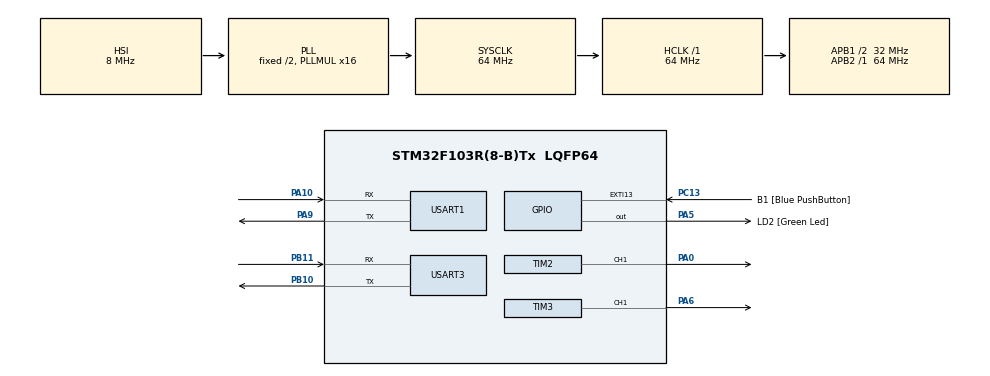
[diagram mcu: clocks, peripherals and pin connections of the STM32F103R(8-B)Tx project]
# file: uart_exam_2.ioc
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Mcu.Family=STM32F1
Mcu.Name=STM32F103R(8-B)Tx
Mcu.Package=LQFP64
NVIC.EXTI15_10_IRQn=true\:0\:0\:false\:false\:true\:true\:true\:true
NVIC.PriorityGroup=NVIC_PRIORITYGROUP_4
NVIC.TIM3_IRQn=true\:0\:0\:false\:false\:true\:true\:true\:true
NVIC.USART1_IRQn=true\:0\:0\:false\:false\:true\:true\:true\:true
NVIC.USART3_IRQn=true\:0\:0\:false\:false\:true\:true\:true\:true
PA0-WKUP.Signal=S_TIM2_CH1_ETR
PA10.Mode=Asynchronous
PA10.Signal=USART1_RX
PA13.GPIO_Label=TMS
PA13.Mode=Serial_Wire
PA13.Signal=SYS_JTMS-SWDIO
PA14.GPIO_Label=TCK
PA14.Mode=Serial_Wire
PA14.Signal=SYS_JTCK-SWCLK
PA2.GPIO_Label=USART_TX
PA2.GPIO_Mode=GPIO_MODE_AF_PP
PA2.GPIO_PuPd=GPIO_NOPULL
PA2.GPIO_Speed=GPIO_SPEED_FREQ_LOW
PA2.Signal=USART2_TX
PA3.GPIO_Label=USART_RX
PA3.GPIO_Mode=GPIO_MODE_AF_PP
PA3.GPIO_PuPd=GPIO_NOPULL
PA3.GPIO_Speed=GPIO_SPEED_FREQ_LOW
PA3.Signal=USART2_RX
PA5.GPIO_Label=LD2 [Green Led]
PA5.GPIO_ModeDefaultOutputPP=GPIO_MODE_OUTPUT_PP
PA5.GPIO_PuPd=GPIO_NOPULL
PA5.GPIO_Speed=GPIO_SPEED_FREQ_LOW
PA5.Signal=GPIO_Output
PA6.Signal=S_TIM3_CH1
PA9.Mode=Asynchronous
PA9.Signal=USART1_TX
PB10.Mode=Asynchronous
PB10.Signal=USART3_TX
PB11.Mode=Asynchronous
PB11.Signal=USART3_RX
PB3.GPIO_Label=SWO
PB3.Signal=SYS_JTDO-TRACESWO
PC13-TAMPER-RTC.GPIO_Label=B1 [Blue PushButton]
PC13-TAMPER-RTC.GPIO_PuPd=GPIO_NOPULL
PC13-TAMPER-RTC.Signal=GPXTI13
PC14-OSC32_IN.Mode=LSE-External-Oscillator
PC14-OSC32_IN.Signal=RCC_OSC32_IN
PC15-OSC32_OUT.Mode=LSE-External-Oscillator
PC15-OSC32_OUT.Signal=RCC_OSC32_OUT
PD0-OSC_IN.Mode=HSE-External-Clock-Source
PD0-OSC_IN.Signal=RCC_OSC_IN
PD1-OSC_OUT.Mode=HSE-External-Clock-Source
PD1-OSC_OUT.Signal=RCC_OSC_OUT
ProjectManager.HeapSize=0x200
ProjectManager.StackSize=0x400
ProjectManager.TargetToolchain=STM32CubeIDE
RCC.AHBFreq_Value=64000000
RCC.APB1CLKDivider=RCC_HCLK_DIV2
RCC.APB1Freq_Value=32000000
RCC.APB1TimFreq_Value=64000000
RCC.APB2Freq_Value=64000000
RCC.APB2TimFreq_Value=64000000
RCC.HCLKFreq_Value=64000000
RCC.PLLMUL=RCC_PLL_MUL16
RCC.RTCClockSelection=RCC_RTCCLKSOURCE_LSE
RCC.SYSCLKFreq_VALUE=64000000
RCC.SYSCLKSource=RCC_SYSCLKSOURCE_PLLCLK
RCC.USBFreq_Value=64000000
SH.S_TIM2_CH1_ETR.0=TIM2_CH1,PWM Generation1 CH1
SH.S_TIM3_CH1.0=TIM3_CH1,PWM Generation1 CH1
TIM2.Channel-PWM\ Generation1\ CH1=TIM_CHANNEL_1
TIM2.Period=20000-1
TIM2.Prescaler=64-1
TIM3.Channel-PWM\ Generation1\ CH1=TIM_CHANNEL_1
TIM3.Period=20000-1
TIM3.Prescaler=64-1
USART1.VirtualMode=VM_ASYNC
USART3.VirtualMode=VM_ASYNC
VP_TIM2_VS_ClockSourceINT.Mode=Internal
VP_TIM3_VS_ClockSourceINT.Mode=Internal
board=NUCLEO-F103RB

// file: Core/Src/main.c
/* USER CODE BEGIN Header */
/**
 ******************************************************************************
 * @file           : main.c
 * @brief          : Main program body
 ******************************************************************************
 * @attention
 *
 * Copyright (c) 2025 STMicroelectronics.
 * All rights reserved.
 *
 * This software is licensed under terms that can be found in the LICENSE file
 * in the root directory of this software component.
 * If no LICENSE file comes with this software, it is provided AS-IS.
 *
 ******************************************************************************
 */
/* USER CODE END Header */
#include "main.h"

/* USER CODE BEGIN Includes */
#include "string.h"
#include <stdlib.h>
/* USER CODE END Includes */

/* USER CODE BEGIN PD */
#define Buffer_Size 30
/* USER CODE END PD */

TIM_HandleTypeDef htim2;
TIM_HandleTypeDef htim3;

UART_HandleTypeDef huart1;
UART_HandleTypeDef huart3;

/* USER CODE BEGIN PV */
uint8_t hori_Txraw[Buffer_Size];
uint8_t hori_Rxraw[Buffer_Size];
uint8_t ver_Txraw[Buffer_Size];
uint8_t ver_Rxraw[Buffer_Size];
uint8_t degree[Buffer_Size];

uint8_t hori_temp[1];
uint8_t ver_temp[1];
size_t hori_rx_index = 0;
size_t ver_rx_index = 0;
const char *init_msg = "UART Connect! \r\n";
const char *btn_msg = "Button \r\n";
volatile int hori_rec_counter = 0;
volatile int ver_rec_counter = 0;
volatile int btn_counter = 0;
typedef enum state{idle, servo0, servo90, servo180}servo;
volatile int hori_g_target_deg = 0;
volatile int ver_g_target_deg = 0;
int ver_val;
int hori_val;
/* USER CODE END PV */

void SystemClock_Config(void);
static void MX_GPIO_Init(void);
static void MX_USART3_UART_Init(void);
static void MX_TIM2_Init(void);
static void MX_TIM3_Init(void);
static void MX_USART1_UART_Init(void);

/* USER CODE BEGIN 0 */
static inline uint16_t deg_to_us(int deg)
{
    // 안전 범위(0~180)로 클램프. 필요시 0~120 등으로 변경 가능
    if (deg < 0)   deg = 0;
    if (deg > 180) deg = 180;

    // 0°=1000us, 180°=2000us 선형 매핑
    // us = 1000 + (deg/180)*1000
    return (uint16_t)(1000 + ((float)deg * 1000.0f / 180.0f));
}
/* USER CODE END 0 */

int main(void)
{

  /* MCU Configuration--------------------------------------------------------*/

  /* Reset of all peripherals, Initializes the Flash interface and the Systick. */
  HAL_Init();

  /* Configure the system clock */
  SystemClock_Config();

  /* Initialize all configured peripherals */
  MX_GPIO_Init();
  MX_USART3_UART_Init();
  MX_TIM2_Init();
  MX_TIM3_Init();
  MX_USART1_UART_Init();
  /* USER CODE BEGIN 2 */
	HAL_UART_Transmit(&huart3, (uint8_t*) init_msg, strlen(init_msg),
	HAL_MAX_DELAY);
	HAL_UART_Receive_IT(&huart3, hori_temp, 1);
	HAL_TIM_PWM_Start(&htim2, TIM_CHANNEL_1);

	HAL_UART_Transmit(&huart1, (uint8_t*) init_msg, strlen(init_msg),
		HAL_MAX_DELAY);
	HAL_UART_Receive_IT(&huart1, ver_temp, 1);
	HAL_TIM_PWM_Start(&htim3, TIM_CHANNEL_1);
	uint16_t init_deg = deg_to_us(90);
	__HAL_TIM_SET_COMPARE(&htim2, TIM_CHANNEL_1, init_deg);
	__HAL_TIM_SET_COMPARE(&htim3, TIM_CHANNEL_1, init_deg);
  /* USER CODE END 2 */

  /* Infinite loop */
  /* USER CODE BEGIN WHILE */
	while (1) {
//		HAL_StatusTypeDef RX_Status = HAL_UART_Receive(&huart2, temp, 1,
//		HAL_MAX_DELAY);
//		if (RX_Status == HAL_OK) {
//			Rxraw[rx_index++] = temp[0];
//
//			if ((rx_index >= 2) && (Rxraw[rx_index - 2] == '\r')
//					&& (Rxraw[rx_index - 1] == '\n')) {
//				for (int i = 0; i < rx_index; i++) {
//					Txraw[i] = Rxraw[i];
//				}
//				HAL_UART_Transmit(&huart2, Txraw, rx_index, HAL_MAX_DELAY);
//				memset(Rxraw, 0, Buffer_Size);
//				rx_index = 0;
//			}
//
//			if (rx_index >= Buffer_Size) {
//				memset(Rxraw, 0, Buffer_Size);
//				rx_index = 0;
//
//			}
//		}
    /* USER CODE END WHILE */

	}
}

void SystemClock_Config(void)
{
  RCC_OscInitTypeDef RCC_OscInitStruct = {0};
  RCC_ClkInitTypeDef RCC_ClkInitStruct = {0};

  /** Initializes the RCC Oscillators according to the specified parameters
  * in the RCC_OscInitTypeDef structure.
  */
  RCC_OscInitStruct.OscillatorType = RCC_OSCILLATORTYPE_HSI;
  RCC_OscInitStruct.HSIState = RCC_HSI_ON;
  RCC_OscInitStruct.HSICalibrationValue = RCC_HSICALIBRATION_DEFAULT;
  RCC_OscInitStruct.PLL.PLLState = RCC_PLL_ON;
  RCC_OscInitStruct.PLL.PLLSource = RCC_PLLSOURCE_HSI_DIV2;
  RCC_OscInitStruct.PLL.PLLMUL = RCC_PLL_MUL16;
  if (HAL_RCC_OscConfig(&RCC_OscInitStruct) != HAL_OK)
  {
    Error_Handler();
  }

  /** Initializes the CPU, AHB and APB buses clocks
  */
  RCC_ClkInitStruct.ClockType = RCC_CLOCKTYPE_HCLK|RCC_CLOCKTYPE_SYSCLK
                              |RCC_CLOCKTYPE_PCLK1|RCC_CLOCKTYPE_PCLK2;
  RCC_ClkInitStruct.SYSCLKSource = RCC_SYSCLKSOURCE_PLLCLK;
  RCC_ClkInitStruct.AHBCLKDivider = RCC_SYSCLK_DIV1;
  RCC_ClkInitStruct.APB1CLKDivider = RCC_HCLK_DIV2;
  RCC_ClkInitStruct.APB2CLKDivider = RCC_HCLK_DIV1;

  if (HAL_RCC_ClockConfig(&RCC_ClkInitStruct, FLASH_LATENCY_2) != HAL_OK)
  {
    Error_Handler();
  }
}

static void MX_TIM2_Init(void)
{

  TIM_ClockConfigTypeDef sClockSourceConfig = {0};
  TIM_MasterConfigTypeDef sMasterConfig = {0};
  TIM_OC_InitTypeDef sConfigOC = {0};

  htim2.Instance = TIM2;
  htim2.Init.Prescaler = 64-1;
  htim2.Init.CounterMode = TIM_COUNTERMODE_UP;
  htim2.Init.Period = 20000-1;
  htim2.Init.ClockDivision = TIM_CLOCKDIVISION_DIV1;
  htim2.Init.AutoReloadPreload = TIM_AUTORELOAD_PRELOAD_DISABLE;
  if (HAL_TIM_Base_Init(&htim2) != HAL_OK)
  {
    Error_Handler();
  }
  sClockSourceConfig.ClockSource = TIM_CLOCKSOURCE_INTERNAL;
  if (HAL_TIM_ConfigClockSource(&htim2, &sClockSourceConfig) != HAL_OK)
  {
    Error_Handler();
  }
  if (HAL_TIM_PWM_Init(&htim2) != HAL_OK)
  {
    Error_Handler();
  }
  sMasterConfig.MasterOutputTrigger = TIM_TRGO_RESET;
  sMasterConfig.MasterSlaveMode = TIM_MASTERSLAVEMODE_DISABLE;
  if (HAL_TIMEx_MasterConfigSynchronization(&htim2, &sMasterConfig) != HAL_OK)
  {
    Error_Handler();
  }
  sConfigOC.OCMode = TIM_OCMODE_PWM1;
  sConfigOC.Pulse = 0;
  sConfigOC.OCPolarity = TIM_OCPOLARITY_HIGH;
  sConfigOC.OCFastMode = TIM_OCFAST_DISABLE;
  if (HAL_TIM_PWM_ConfigChannel(&htim2, &sConfigOC, TIM_CHANNEL_1) != HAL_OK)
  {
    Error_Handler();
  }
  HAL_TIM_MspPostInit(&htim2);

}

static void MX_TIM3_Init(void)
{

  TIM_ClockConfigTypeDef sClockSourceConfig = {0};
  TIM_MasterConfigTypeDef sMasterConfig = {0};
  TIM_OC_InitTypeDef sConfigOC = {0};

  htim3.Instance = TIM3;
  htim3.Init.Prescaler = 64-1;
  htim3.Init.CounterMode = TIM_COUNTERMODE_UP;
  htim3.Init.Period = 20000-1;
  htim3.Init.ClockDivision = TIM_CLOCKDIVISION_DIV1;
  htim3.Init.AutoReloadPreload = TIM_AUTORELOAD_PRELOAD_DISABLE;
  if (HAL_TIM_Base_Init(&htim3) != HAL_OK)
  {
    Error_Handler();
  }
  sClockSourceConfig.ClockSource = TIM_CLOCKSOURCE_INTERNAL;
  if (HAL_TIM_ConfigClockSource(&htim3, &sClockSourceConfig) != HAL_OK)
  {
    Error_Handler();
  }
  if (HAL_TIM_PWM_Init(&htim3) != HAL_OK)
  {
    Error_Handler();
  }
  sMasterConfig.MasterOutputTrigger = TIM_TRGO_RESET;
  sMasterConfig.MasterSlaveMode = TIM_MASTERSLAVEMODE_DISABLE;
  if (HAL_TIMEx_MasterConfigSynchronization(&htim3, &sMasterConfig) != HAL_OK)
  {
    Error_Handler();
  }
  sConfigOC.OCMode = TIM_OCMODE_PWM1;
  sConfigOC.Pulse = 0;
  sConfigOC.OCPolarity = TIM_OCPOLARITY_HIGH;
  sConfigOC.OCFastMode = TIM_OCFAST_DISABLE;
  if (HAL_TIM_PWM_ConfigChannel(&htim3, &sConfigOC, TIM_CHANNEL_1) != HAL_OK)
  {
    Error_Handler();
  }
  HAL_TIM_MspPostInit(&htim3);

}

static void MX_USART1_UART_Init(void)
{

  huart1.Instance = USART1;
  huart1.Init.BaudRate = 115200;
  huart1.Init.WordLength = UART_WORDLENGTH_8B;
  huart1.Init.StopBits = UART_STOPBITS_1;
  huart1.Init.Parity = UART_PARITY_NONE;
  huart1.Init.Mode = UART_MODE_TX_RX;
  huart1.Init.HwFlowCtl = UART_HWCONTROL_NONE;
  huart1.Init.OverSampling = UART_OVERSAMPLING_16;
  if (HAL_UART_Init(&huart1) != HAL_OK)
  {
    Error_Handler();
  }

}

static void MX_USART3_UART_Init(void)
{

  huart3.Instance = USART3;
  huart3.Init.BaudRate = 115200;
  huart3.Init.WordLength = UART_WORDLENGTH_8B;
  huart3.Init.StopBits = UART_STOPBITS_1;
  huart3.Init.Parity = UART_PARITY_NONE;
  huart3.Init.Mode = UART_MODE_TX_RX;
  huart3.Init.HwFlowCtl = UART_HWCONTROL_NONE;
  huart3.Init.OverSampling = UART_OVERSAMPLING_16;
  if (HAL_UART_Init(&huart3) != HAL_OK)
  {
    Error_Handler();
  }

}

static void MX_GPIO_Init(void)
{
  GPIO_InitTypeDef GPIO_InitStruct = {0};

  /* GPIO Ports Clock Enable */
  __HAL_RCC_GPIOC_CLK_ENABLE();
  __HAL_RCC_GPIOD_CLK_ENABLE();
  __HAL_RCC_GPIOA_CLK_ENABLE();
  __HAL_RCC_GPIOB_CLK_ENABLE();

  /*Configure GPIO pin Output Level */
  HAL_GPIO_WritePin(LD2_GPIO_Port, LD2_Pin, GPIO_PIN_RESET);

  /*Configure GPIO pin : B1_Pin */
  GPIO_InitStruct.Pin = B1_Pin;
  GPIO_InitStruct.Mode = GPIO_MODE_IT_RISING;
  GPIO_InitStruct.Pull = GPIO_NOPULL;
  HAL_GPIO_Init(B1_GPIO_Port, &GPIO_InitStruct);

  /*Configure GPIO pins : USART_TX_Pin USART_RX_Pin */
  GPIO_InitStruct.Pin = USART_TX_Pin|USART_RX_Pin;
  GPIO_InitStruct.Mode = GPIO_MODE_AF_PP;
  GPIO_InitStruct.Speed = GPIO_SPEED_FREQ_LOW;
  HAL_GPIO_Init(GPIOA, &GPIO_InitStruct);

  /*Configure GPIO pin : LD2_Pin */
  GPIO_InitStruct.Pin = LD2_Pin;
  GPIO_InitStruct.Mode = GPIO_MODE_OUTPUT_PP;
  GPIO_InitStruct.Pull = GPIO_NOPULL;
  GPIO_InitStruct.Speed = GPIO_SPEED_FREQ_LOW;
  HAL_GPIO_Init(LD2_GPIO_Port, &GPIO_InitStruct);

  /* EXTI interrupt init*/
  HAL_NVIC_SetPriority(EXTI15_10_IRQn, 0, 0);
  HAL_NVIC_EnableIRQ(EXTI15_10_IRQn);

}

/* USER CODE BEGIN 4 */
void HAL_GPIO_EXTI_Callback(uint16_t GPIO_Pin) {
	//btn_counter++;
	//HAL_UART_Transmit(&huart3, (uint8_t*) btn_msg, strlen(btn_msg),
	//HAL_MAX_DELAY);
	 //uint16_t us = deg_to_us(g_target_deg);

	    // 권장: HAL 매크로로 비교값 설정 (가독성/이식성 좋음)
	    __HAL_TIM_SET_COMPARE(&htim2, TIM_CHANNEL_1, deg_to_us(90));
	    __HAL_TIM_SET_COMPARE(&htim3, TIM_CHANNEL_1, deg_to_us(90));
}

void HAL_UART_RxCpltCallback(UART_HandleTypeDef *huart)
{
	if(huart->Instance == USART3)
	    {
			hori_rec_counter++;
			hori_Rxraw[hori_rx_index++] = hori_temp[0];

	        // 줄바꿈(명령 종료) 체크
	        if((hori_temp[0] == '\r') || (hori_temp[0] == '\n'))
	        {
	            // 문자열 종료 처리
	            if (hori_rx_index > 0) {
	                // 끝문자를 0으로 만들어 C문자열 완성
	                //if (rx_index >= Buffer_Size) rx_index = Buffer_Size - 1;
	                //Rxraw[rx_index] = '\0';

	                // 공백 제거(선택) — 단순하게 atoi만 사용해도 됨
	                // atoi는 "30", "  60", "90\r" 같은 것도 잘 파싱

	            	hori_val = atoi((char*)hori_Rxraw);

	                // 여기서 마지막 목표 각도 갱신 (예: 30, 60, 90)
	                hori_g_target_deg = hori_val;   // EXTI에서 이 값을 사용
	                uint16_t hori_us = deg_to_us(hori_g_target_deg);
	                __HAL_TIM_SET_COMPARE(&htim2, TIM_CHANNEL_1, hori_us);
	                memset(hori_Rxraw, 0, sizeof(hori_Rxraw));
	                // (선택) OK 응답
	                // const char *ok = "OK\r\n";
	                // HAL_UART_Transmit(&huart3, (uint8_t*)ok, strlen(ok), HAL_MAX_DELAY);
	            }

	            // 다음 명령을 위한 버퍼 리셋
	            hori_rx_index = 0;
	        }
	        else
	        {
	            // 버퍼 오버런 방지
	            if (hori_rx_index >= Buffer_Size) {
	            	hori_rx_index = 0;
	            }
	        }

	        // 다음 1바이트 재수신
	        HAL_UART_Receive_IT(&huart3, hori_temp, 1);
	    }

	if(huart->Instance == USART1)
		    {
				ver_rec_counter++;
				ver_Rxraw[ver_rx_index++] = ver_temp[0];

		        // 줄바꿈(명령 종료) 체크
		        if((ver_temp[0] == '\r') || (ver_temp[0] == '\n'))
		        {
		            // 문자열 종료 처리
		            if (ver_rx_index > 0) {
		                // 끝문자를 0으로 만들어 C문자열 완성
		                //if (rx_index >= Buffer_Size) rx_index = Buffer_Size - 1;
		                //Rxraw[rx_index] = '\0';

		                // 공백 제거(선택) — 단순하게 atoi만 사용해도 됨
		                // atoi는 "30", "  60", "90\r" 같은 것도 잘 파싱

		            	ver_val = atoi((char*)ver_Rxraw);

		                // 여기서 마지막 목표 각도 갱신 (예: 30, 60, 90)
		            	ver_g_target_deg = ver_val;   // EXTI에서 이 값을 사용
		                uint16_t ver_us = deg_to_us(ver_g_target_deg);
		                __HAL_TIM_SET_COMPARE(&htim3, TIM_CHANNEL_1, ver_us);
		                memset(ver_Rxraw, 0, sizeof(ver_Rxraw));
		                // (선택) OK 응답
		                // const char *ok = "OK\r\n";
		                // HAL_UART_Transmit(&huart3, (uint8_t*)ok, strlen(ok), HAL_MAX_DELAY);
		            }

		            // 다음 명령을 위한 버퍼 리셋
		            ver_rx_index = 0;
		        }
		        else
		        {
		            // 버퍼 오버런 방지
		            if (ver_rx_index >= Buffer_Size) {
		            	ver_rx_index = 0;
		            }
		        }

		        // 다음 1바이트 재수신
		        HAL_UART_Receive_IT(&huart1, ver_temp, 1);
		    }

}

/* USER CODE END 4 */

void Error_Handler(void)
{
	__disable_irq();
	while (1) {
	}
}
